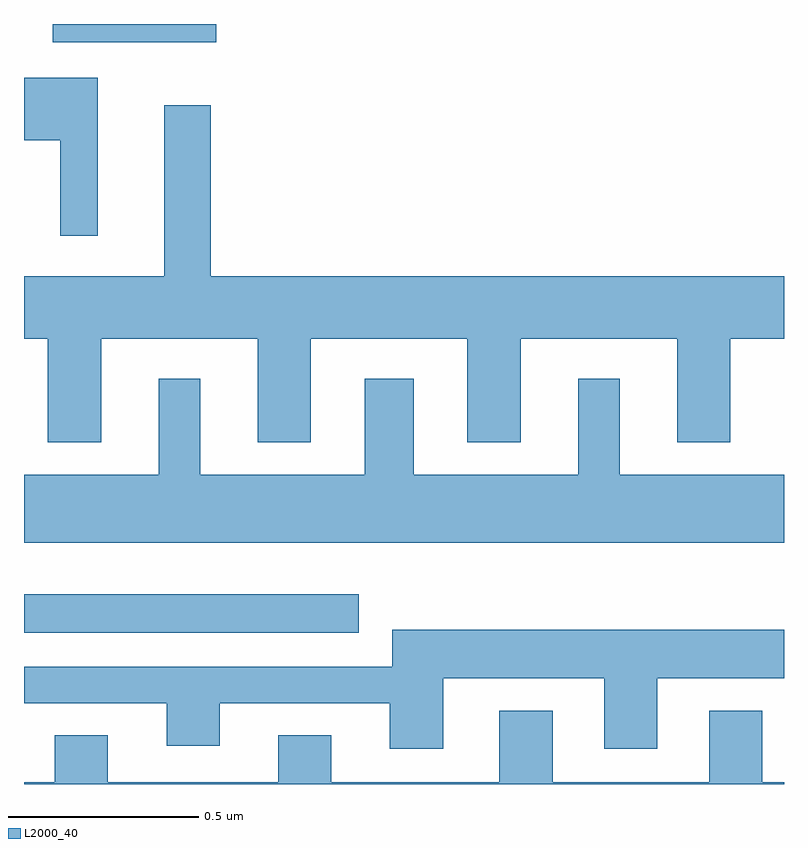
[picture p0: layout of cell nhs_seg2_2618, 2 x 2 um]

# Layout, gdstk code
import gdstk
lib = gdstk.Library(unit=1e-6, precision=1e-09)
def R(c, l, rs):  # rectangles x0, y0, x1, y1
    for r in rs: c.add(gdstk.rectangle(r[:2], r[2:], *l))
def P(c, l, *ps):  # polygons
    for p in ps: c.add(gdstk.Polygon(p, *l))
L2000_40 = (2000, 40)

nhs_seg2_2618 = lib.new_cell('nhs_seg2_2618')
R(nhs_seg2_2618, L2000_40, [(143,644.198,143.881,644.299), (143.076,645.752,143.506,645.8)])
P(nhs_seg2_2618, L2000_40, [(143.194,645.658),(143,645.658),(143,645.494),(143.096,645.494),(143.096,645.243),(143.194,645.243)],
  [(143.369,645.586),(143.369,645.136),(143,645.136),(143,644.972),(143.063,644.972),(143.063,644.699),(143.203,644.699),(143.203,644.972),(143.615,644.972),(143.615,644.699),(143.755,644.699),(143.755,644.972),(144.167,644.972),(144.167,644.699),(144.307,644.699),(144.307,644.972),(144.719,644.972),(144.719,644.699),(144.859,644.699),(144.859,644.972),(145,644.972),(145,645.136),(143.491,645.136),(143.491,645.586)],
  [(145,644.614),(144.568,644.614),(144.568,644.866),(144.458,644.866),(144.458,644.614),(144.025,644.614),(144.025,644.866),(143.897,644.866),(143.897,644.614),(143.464,644.614),(143.464,644.866),(143.354,644.866),(143.354,644.614),(143,644.614),(143,644.435),(145,644.435)],
  [(144.103,644.078),(144.527,644.078),(144.527,643.893),(144.667,643.893),(144.667,644.078),(145,644.078),(145,644.206),(143.969,644.206),(143.969,644.109),(143,644.109),(143,644.013),(143.375,644.013),(143.375,643.901),(143.515,643.901),(143.515,644.013),(143.963,644.013),(143.963,643.893),(144.103,643.893)],
  [(145,643.804),(144.943,643.804),(144.943,643.993),(144.803,643.993),(144.803,643.804),(144.391,643.804),(144.391,643.993),(144.251,643.993),(144.251,643.804),(143.809,643.804),(143.809,643.928),(143.669,643.928),(143.669,643.804),(143.221,643.804),(143.221,643.928),(143.081,643.928),(143.081,643.804),(143,643.804),(143,643.8),(145,643.8)])

lib.write_gds('nhs_seg2_2618.gds')
